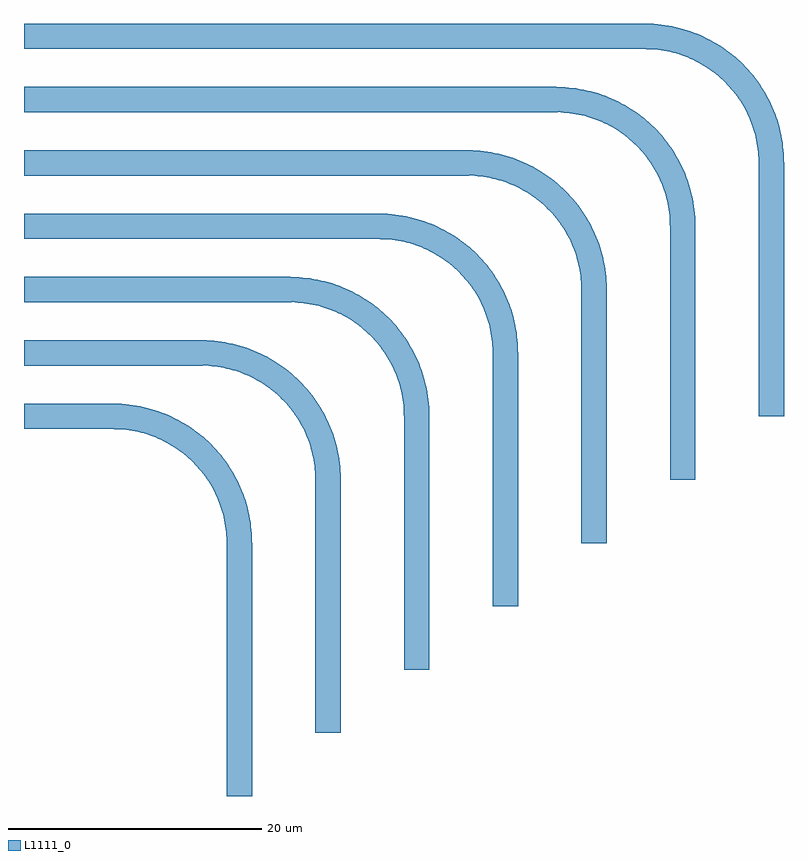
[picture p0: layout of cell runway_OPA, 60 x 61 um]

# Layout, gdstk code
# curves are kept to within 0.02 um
import gdstk
lib = gdstk.Library(unit=1e-6, precision=1e-09)
def R(c, l, rs):  # rectangles x0, y0, x1, y1
    for r in rs: c.add(gdstk.rectangle(r[:2], r[2:], *l))
def P(c, l, *ps):  # polygons
    for p in ps: c.add(gdstk.Polygon(p, *l))
L1111_0 = (1111, 0)

runway_opa = lib.new_cell('runway_OPA')
R(runway_opa, L1111_0, [(16,-25,18,-5), (23,-20,25,0), (30,-15,32,5), (37,-10,39,10), (44,-5,46,15), (51,0,53,20), (0,4,7,6), (58,5,60,25), (0,9,14,11), (0,14,21,16), (0,19,28,21), (0,24,35,26), (0,29,42,31), (0,34,49,36)])
P(runway_opa, L1111_0, [(49,34),(49,36),(49.732,35.976),(50.605,35.883),(51.468,35.72),(52.316,35.489),(53.142,35.191),(53.942,34.828),(54.458,34.551),(55.202,34.085),(55.908,33.561),(56.778,32.778),(57.561,31.908),(58.247,30.958),(58.693,30.202),(58.956,29.678),(59.397,28.594),(59.72,27.468),(59.921,26.315),(60,25),(58,25),(57.936,26.076),(57.771,27.019),(57.506,27.94),(57.146,28.828),(56.693,29.672),(56.005,30.652),(55.364,31.364),(54.652,32.005),(54.075,32.433),(53.466,32.814),(52.61,33.245),(51.94,33.506),(51.252,33.714),(50.55,33.866),(49.837,33.961)],
  [(42,29),(42,31),(42.732,30.976),(43.605,30.883),(44.468,30.72),(45.316,30.489),(46.142,30.191),(46.942,29.828),(47.458,29.551),(48.202,29.085),(48.908,28.561),(49.778,27.778),(50.561,26.908),(51.247,25.958),(51.693,25.202),(51.956,24.678),(52.397,23.594),(52.72,22.468),(52.921,21.315),(53,20),(51,20),(50.936,21.076),(50.771,22.019),(50.506,22.94),(50.146,23.828),(49.693,24.672),(49.005,25.652),(48.364,26.364),(47.652,27.005),(47.075,27.433),(46.466,27.814),(45.61,28.245),(44.94,28.506),(44.252,28.714),(43.55,28.866),(42.837,28.961)],
  [(35,24),(35,26),(35.732,25.976),(36.605,25.883),(37.468,25.72),(38.316,25.489),(39.142,25.191),(39.942,24.828),(40.458,24.551),(41.202,24.085),(41.908,23.561),(42.778,22.778),(43.561,21.908),(44.247,20.958),(44.693,20.202),(44.956,19.678),(45.397,18.594),(45.72,17.468),(45.921,16.315),(46,15),(44,15),(43.936,16.076),(43.771,17.019),(43.506,17.94),(43.146,18.828),(42.693,19.672),(42.005,20.652),(41.364,21.364),(40.652,22.005),(40.075,22.433),(39.466,22.814),(38.61,23.245),(37.94,23.506),(37.252,23.714),(36.55,23.866),(35.837,23.961)],
  [(28,19),(28,21),(28.732,20.976),(29.605,20.883),(30.468,20.72),(31.316,20.489),(32.142,20.191),(32.942,19.828),(33.458,19.551),(34.202,19.085),(34.908,18.561),(35.778,17.778),(36.561,16.908),(37.247,15.958),(37.693,15.202),(37.956,14.678),(38.397,13.594),(38.72,12.468),(38.921,11.315),(39,10),(37,10),(36.936,11.076),(36.771,12.019),(36.506,12.94),(36.146,13.828),(35.693,14.672),(35.005,15.652),(34.364,16.364),(33.652,17.005),(33.075,17.433),(32.466,17.814),(31.61,18.245),(30.94,18.506),(30.252,18.714),(29.55,18.866),(28.837,18.961)],
  [(21,14),(21,16),(21.732,15.976),(22.605,15.883),(23.468,15.72),(24.316,15.489),(25.142,15.191),(25.942,14.828),(26.458,14.551),(27.202,14.085),(27.908,13.561),(28.778,12.778),(29.561,11.908),(30.247,10.958),(30.693,10.202),(30.956,9.678),(31.397,8.594),(31.72,7.468),(31.921,6.315),(32,5),(30,5),(29.936,6.076),(29.771,7.019),(29.506,7.94),(29.146,8.828),(28.693,9.672),(28.005,10.652),(27.364,11.364),(26.652,12.005),(26.075,12.433),(25.466,12.814),(24.61,13.245),(23.94,13.506),(23.252,13.714),(22.55,13.866),(21.837,13.961)],
  [(14,9),(14,11),(14.732,10.976),(15.605,10.883),(16.468,10.72),(17.316,10.489),(18.142,10.191),(18.942,9.828),(19.458,9.551),(20.202,9.085),(20.908,8.561),(21.778,7.778),(22.561,6.908),(23.247,5.958),(23.693,5.202),(23.956,4.678),(24.397,3.594),(24.72,2.468),(24.921,1.315),(25,0),(23,0),(22.936,1.076),(22.771,2.019),(22.506,2.94),(22.146,3.828),(21.693,4.672),(21.005,5.652),(20.364,6.364),(19.652,7.005),(19.075,7.433),(18.466,7.814),(17.61,8.245),(16.94,8.506),(16.252,8.714),(15.55,8.866),(14.837,8.961)],
  [(7,4),(7,6),(7.732,5.976),(8.605,5.883),(9.468,5.72),(10.316,5.489),(11.142,5.191),(11.942,4.828),(12.458,4.551),(13.202,4.085),(13.908,3.561),(14.778,2.778),(15.561,1.908),(16.247,0.958),(16.693,0.202),(16.956,-0.322),(17.397,-1.406),(17.72,-2.532),(17.921,-3.685),(18,-5),(16,-5),(15.936,-3.924),(15.771,-2.981),(15.506,-2.06),(15.146,-1.172),(14.693,-0.328),(14.005,0.652),(13.364,1.364),(12.652,2.005),(12.075,2.433),(11.466,2.814),(10.61,3.245),(9.94,3.506),(9.252,3.714),(8.55,3.866),(7.837,3.961)])

lib.write_gds('runway_OPA.gds')
